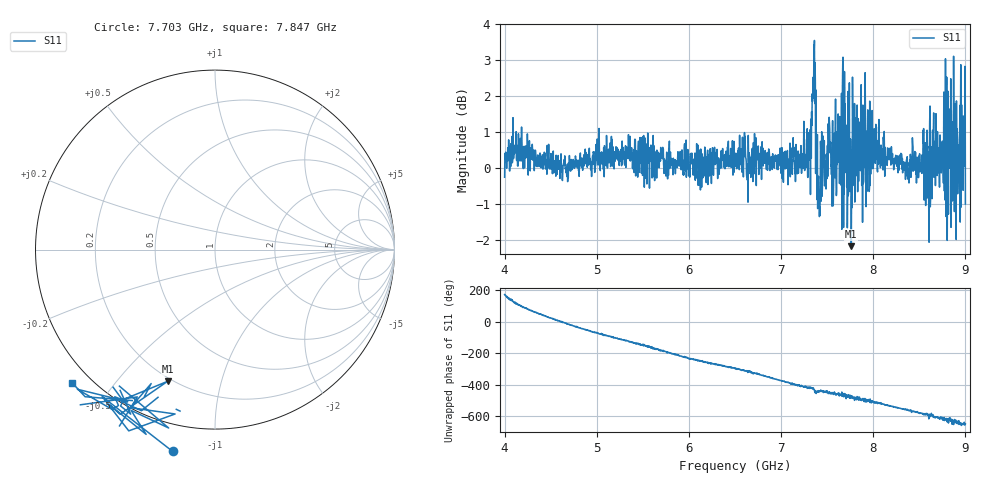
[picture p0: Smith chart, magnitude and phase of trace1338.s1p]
! Created with skrf 1.8.0 (http://scikit-rf.org).
# Hz S RI R 50.0
!freq ReS11 ImS11
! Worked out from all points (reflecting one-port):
!   1601 points, 4 GHz to 9 GHz, reference 50 ohm
!   lowest |S11| = -2.2 dB at 7.762 GHz (marker M1), VSWR 8.07, Z = 9.19 - j34.4 ohm
!   phase of S11 starts at 171 deg and turns -820 deg over the sweep
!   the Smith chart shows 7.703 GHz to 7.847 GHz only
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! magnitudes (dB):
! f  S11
! 4 GHz  -0.2
! 4.103 GHz  0.6
! 4.625 GHz  -0.3
! 5.25 GHz  0.3
! 5.875 GHz  0.2
! 6.5 GHz  0.1
! 7.125 GHz  0.2
! 7.294 GHz  0.3
! 7.347 GHz  2.5
! 7.369 GHz  2.9
! 7.4 GHz  -0.4
! 7.422 GHz  -1.3
! 7.516 GHz  0.5
! 7.591 GHz  1.9
! 7.647 GHz  1.0
! 7.691 GHz  1.0
! 7.703 GHz  1.2
! 7.738 GHz  0.7
! 7.75 GHz  0.1
! 7.762 GHz  -2.2
! 8.009 GHz  1.1
! 8.375 GHz  -0.3
! 8.566 GHz  0.7
! 8.616 GHz  1.7
! 8.666 GHz  0.5
! 8.919 GHz  -0.4
! 8.972 GHz  0.5
! 9 GHz  -1.0
